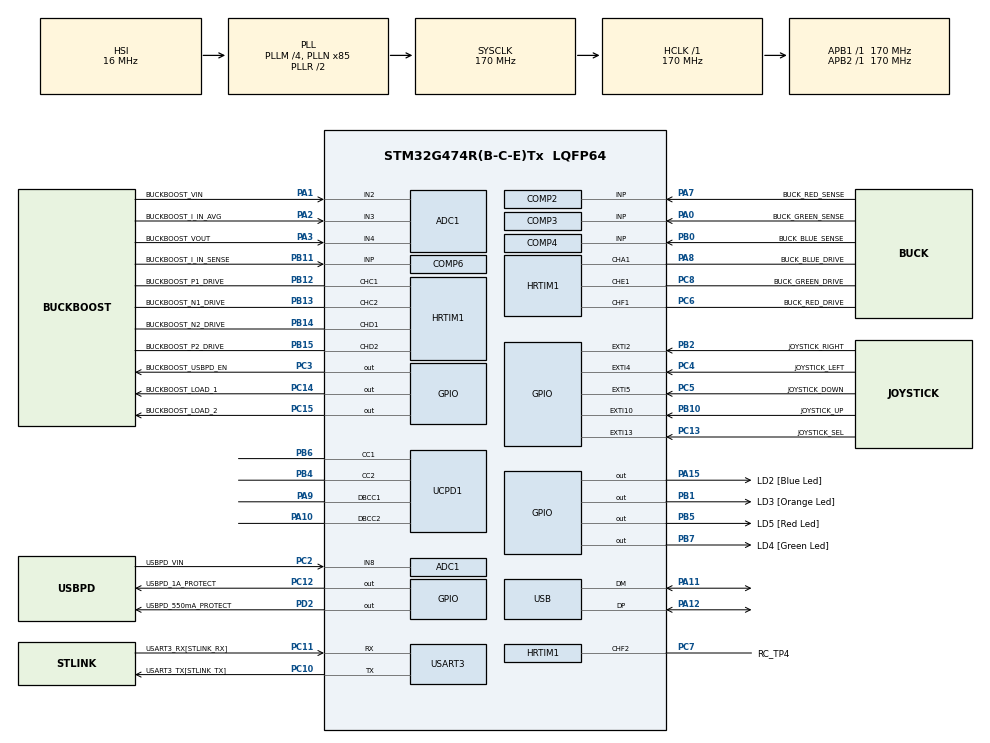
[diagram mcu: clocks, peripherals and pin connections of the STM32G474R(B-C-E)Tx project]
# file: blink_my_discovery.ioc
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ADC1.Channel-0\#ChannelRegularConversion=ADC_CHANNEL_8
ADC1.NbrOfConversionFlag=1
ADC1.OffsetNumber-0\#ChannelRegularConversion=ADC_OFFSET_NONE
ADC1.Rank-0\#ChannelRegularConversion=1
ADC1.SamplingTime-0\#ChannelRegularConversion=ADC_SAMPLETIME_2CYCLES_5
ADC1.master=1
DAC3.DAC_Channel-DAC_OUT2_Int=DAC_CHANNEL_2
Mcu.Family=STM32G4
Mcu.Name=STM32G474R(B-C-E)Tx
Mcu.Package=LQFP64
NVIC.ADC1_2_IRQn=true\:0\:0\:false\:false\:true\:true\:true
NVIC.EXTI15_10_IRQn=true\:0\:0\:false\:false\:true\:true\:true
NVIC.EXTI2_IRQn=true\:0\:0\:false\:false\:true\:true\:true
NVIC.EXTI4_IRQn=true\:0\:0\:false\:false\:true\:true\:true
NVIC.EXTI9_5_IRQn=true\:0\:0\:false\:false\:true\:true\:true
NVIC.HRTIM1_Master_IRQn=true\:0\:0\:false\:false\:true\:true\:true
NVIC.HRTIM1_TIMF_IRQn=true\:0\:0\:false\:false\:true\:true\:true
NVIC.PriorityGroup=NVIC_PRIORITYGROUP_4
NVIC.USART3_IRQn=true\:0\:0\:false\:false\:true\:true\:true
NVIC.USB_HP_IRQn=true\:0\:0\:false\:false\:true\:true\:true
PA0.GPIO_Label=BUCK_GREEN_SENSE
PA0.Mode=INP
PA0.Signal=COMP3_INP
PA1.GPIO_Label=BUCKBOOST_VIN
PA1.Mode=IN2-Single-Ended
PA1.Signal=ADC1_IN2
PA10.Mode=EnableDeadBattery
PA10.Signal=UCPD1_DBCC2
PA11.Mode=Device
PA11.Signal=USB_DM
PA12.Mode=Device
PA12.Signal=USB_DP
PA13.Mode=Serial_Wire
PA13.Signal=SYS_JTMS-SWDIO
PA14.Mode=Serial_Wire
PA14.Signal=SYS_JTCK-SWCLK
PA15.GPIO_Label=LD2 [Blue Led]
PA15.Signal=GPIO_Output
PA2.GPIO_Label=BUCKBOOST_I_IN_AVG
PA2.Mode=IN3-Single-Ended
PA2.Signal=ADC1_IN3
PA3.GPIO_Label=BUCKBOOST_VOUT
PA3.Mode=IN4-Single-Ended
PA3.Signal=ADC1_IN4
PA7.GPIO_Label=BUCK_RED_SENSE
PA7.Mode=INP
PA7.Signal=COMP2_INP
PA8.GPIO_Label=BUCK_BLUE_DRIVE
PA8.Mode=Output_TA1
PA8.Signal=HRTIM1_CHA1
PA9.Mode=EnableDeadBattery
PA9.Signal=UCPD1_DBCC1
PB0.GPIO_Label=BUCK_BLUE_SENSE
PB0.Mode=INP
PB0.Signal=COMP4_INP
PB1.GPIO_Label=LD3 [Orange Led]
PB1.Signal=GPIO_Output
PB10.GPIO_Label=JOYSTICK_UP
PB10.GPIO_PuPd=GPIO_PULLUP
PB10.Signal=GPXTI10
PB11.GPIO_Label=BUCKBOOST_I_IN_SENSE
PB11.Mode=INP
PB11.Signal=COMP6_INP
PB12.GPIO_Label=BUCKBOOST_P1_DRIVE
PB12.Mode=Output_TC1TC2
PB12.Signal=HRTIM1_CHC1
PB13.GPIO_Label=BUCKBOOST_N1_DRIVE
PB13.Mode=Output_TC1TC2
PB13.Signal=HRTIM1_CHC2
PB14.GPIO_Label=BUCKBOOST_N2_DRIVE
PB14.Mode=Output_TD1TD2
PB14.Signal=HRTIM1_CHD1
PB15.GPIO_Label=BUCKBOOST_P2_DRIVE
PB15.Mode=Output_TD1TD2
PB15.Signal=HRTIM1_CHD2
PB2.GPIO_Label=JOYSTICK_RIGHT
PB2.GPIO_PuPd=GPIO_PULLUP
PB2.Signal=GPXTI2
PB3.Signal=SYS_JTDO-SWO
PB4.Mode=Sink_AllSignals
PB4.Signal=UCPD1_CC2
PB5.GPIO_Label=LD5 [Red Led]
PB5.Signal=GPIO_Output
PB6.Mode=Sink_AllSignals
PB6.Signal=UCPD1_CC1
PB7.GPIO_Label=LD4 [Green Led]
PB7.Signal=GPIO_Output
PC10.GPIO_Label=USART3_TX[STLINK_TX]
PC10.GPIO_Speed=GPIO_SPEED_FREQ_MEDIUM
PC10.Mode=Asynchronous
PC10.Signal=USART3_TX
PC11.GPIO_Label=USART3_RX[STLINK_RX]
PC11.GPIO_Speed=GPIO_SPEED_FREQ_MEDIUM
PC11.Mode=Asynchronous
PC11.Signal=USART3_RX
PC12.GPIO_Label=USBPD_1A_PROTECT
PC12.Signal=GPIO_Output
PC13.GPIO_Label=JOYSTICK_SEL
PC13.GPIO_PuPd=GPIO_PULLUP
PC13.Signal=GPXTI13
PC14-OSC32_IN.GPIO_Label=BUCKBOOST_LOAD_1
PC14-OSC32_IN.Signal=GPIO_Output
PC15-OSC32_OUT.GPIO_Label=BUCKBOOST_LOAD_2
PC15-OSC32_OUT.Signal=GPIO_Output
PC2.GPIO_Label=USBPD_VIN
PC2.Mode=IN8-Single-Ended
PC2.Signal=ADC1_IN8
PC3.GPIO_Label=BUCKBOOST_USBPD_EN
PC3.Signal=GPIO_Output
PC4.GPIO_Label=JOYSTICK_LEFT
PC4.GPIO_PuPd=GPIO_PULLUP
PC4.Signal=GPXTI4
PC5.GPIO_Label=JOYSTICK_DOWN
PC5.GPIO_PuPd=GPIO_PULLUP
PC5.Signal=GPXTI5
PC6.GPIO_Label=BUCK_RED_DRIVE
PC6.Mode=Output_TF1TF2
PC6.Signal=HRTIM1_CHF1
PC7.GPIO_Label=RC_TP4
PC7.Mode=Output_TF1TF2
PC7.Signal=HRTIM1_CHF2
PC8.GPIO_Label=BUCK_GREEN_DRIVE
PC8.Mode=Output_TE1
PC8.Signal=HRTIM1_CHE1
PD2.GPIO_Label=USBPD_550mA_PROTECT
PD2.Signal=GPIO_Output
ProjectManager.HeapSize=0x200
ProjectManager.StackSize=0x400
ProjectManager.TargetToolchain=STM32CubeIDE
RCC.ADC12Freq_Value=170000000
RCC.ADC345Freq_Value=170000000
RCC.AHBFreq_Value=170000000
RCC.APB1Freq_Value=170000000
RCC.APB1TimFreq_Value=170000000
RCC.APB2Freq_Value=170000000
RCC.APB2TimFreq_Value=170000000
RCC.CK48CLockSelection=RCC_USBCLKSOURCE_HSI48
RCC.CortexFreq_Value=170000000
RCC.EXTERNAL_CLOCK_VALUE=12288000
RCC.HCLKFreq_Value=170000000
RCC.HSE_VALUE=8000000
RCC.HSI48_VALUE=48000000
RCC.HSI_VALUE=16000000
RCC.LSE_VALUE=32768
RCC.PLLM=RCC_PLLM_DIV4
RCC.PLLN=85
RCC.PLLP=RCC_PLLP_DIV8
RCC.PLLQ=RCC_PLLQ_DIV8
RCC.SYSCLKFreq_VALUE=170000000
RCC.SYSCLKSource=RCC_SYSCLKSOURCE_PLLCLK
RCC.USBFreq_Value=48000000
RCC.VCOOutputFreq_Value=340000000
USART3.ClockPrescaler=PRESCALER_DIV4
USART3.VirtualMode-Asynchronous=VM_ASYNC
USART3.WordLength=WORDLENGTH_8B
VP_COMP2_VS_DAC3OUT2.Mode=INM_DAC3OUT2
VP_COMP3_VS_DAC3OUT1.Mode=INM_DAC3OUT1
VP_COMP4_VS_DAC1OUT1.Mode=INM_DAC1OUT1
VP_COMP6_VS_DAC2OUT1.Mode=INM_DAC2OUT1
VP_DAC1_VS_DACI1.Mode=DAC_OUT1_Int
VP_DAC2_VS_DACI1.Mode=DAC_OUT1_Int
VP_DAC3_VS_DACI1.Mode=DAC_OUT1_Int
VP_DAC3_VS_DACI2.Mode=DAC_OUT2_Int
VP_SYS_VS_DBSignals.Mode=DisableDeadBatterySignals
board=B-G474E-DPOW1

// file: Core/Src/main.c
/* USER CODE BEGIN Header */
/**
 ******************************************************************************
 * @file           : main.c
 * @brief          : Main program body
 ******************************************************************************
 * @attention
 *
 * <h2><center>&copy; Copyright (c) 2020 STMicroelectronics.
 * All rights reserved.</center></h2>
 *
 * This software component is licensed by ST under BSD 3-Clause license,
 * the "License"; You may not use this file except in compliance with the
 * License. You may obtain a copy of the License at:
 *                        opensource.org/licenses/BSD-3-Clause
 *
 ******************************************************************************
 */
/* USER CODE END Header */

#include "main.h"

ADC_HandleTypeDef hadc1;

COMP_HandleTypeDef hcomp2;
COMP_HandleTypeDef hcomp3;
COMP_HandleTypeDef hcomp4;
COMP_HandleTypeDef hcomp6;

DAC_HandleTypeDef hdac1;
DAC_HandleTypeDef hdac2;
DAC_HandleTypeDef hdac3;

HRTIM_HandleTypeDef hhrtim1;

UART_HandleTypeDef huart3;

PCD_HandleTypeDef hpcd_USB_FS;

void SystemClock_Config(void);
static void MX_GPIO_Init(void);
static void MX_ADC1_Init(void);
static void MX_COMP2_Init(void);
static void MX_COMP3_Init(void);
static void MX_COMP4_Init(void);
static void MX_COMP6_Init(void);
static void MX_DAC1_Init(void);
static void MX_DAC2_Init(void);
static void MX_DAC3_Init(void);
static void MX_HRTIM1_Init(void);
static void MX_UCPD1_Init(void);
static void MX_USART3_UART_Init(void);
static void MX_USB_PCD_Init(void);

int main(void) {

	/* MCU Configuration--------------------------------------------------------*/

	/* Reset of all peripherals, Initializes the Flash interface and the Systick. */
	HAL_Init();

	/* Configure the system clock */
	SystemClock_Config();

	/* Initialize all configured peripherals */
	MX_GPIO_Init();
	MX_ADC1_Init();
	MX_COMP2_Init();
	MX_COMP3_Init();
	MX_COMP4_Init();
	MX_COMP6_Init();
	MX_DAC1_Init();
	MX_DAC2_Init();
	MX_DAC3_Init();
	MX_HRTIM1_Init();
	MX_UCPD1_Init();
	MX_USART3_UART_Init();
	MX_USB_PCD_Init();
	uint32_t t;
	uint8_t i = 4; // begin

	/* Infinite loop */
	while (1) {

		// LD2 - Blue - PA15
		// LD3 - Orange - PB1
		// LD4 - Green - PB7
		// LD5 - Red - PB5
		/* USER CODE BEGIN 3 */
		if (HAL_GetTick() - t >= 1000) {
			t = HAL_GetTick();
			switch (i) {
			case 0:
				HAL_GPIO_TogglePin(GPIOA, GPIO_PIN_15);
				HAL_GPIO_TogglePin(GPIOB, GPIO_PIN_1);
				break;
			case 1:
				HAL_GPIO_TogglePin(GPIOB, GPIO_PIN_1);
				HAL_GPIO_TogglePin(GPIOB, GPIO_PIN_7);
				break;
			case 2:
				HAL_GPIO_TogglePin(GPIOB, GPIO_PIN_7);
				HAL_GPIO_TogglePin(GPIOB, GPIO_PIN_5);
				break;
			case 3:
				HAL_GPIO_TogglePin(GPIOB, GPIO_PIN_5);
				HAL_GPIO_TogglePin(GPIOA, GPIO_PIN_15);
				break;
			default:
				HAL_GPIO_TogglePin(GPIOA, GPIO_PIN_15);
				break;
			}
			i++;
			if (i>3) i = 0;
		}

	}
	/* USER CODE END 3 */
}

void SystemClock_Config(void) {
	RCC_OscInitTypeDef RCC_OscInitStruct = { 0 };
	RCC_ClkInitTypeDef RCC_ClkInitStruct = { 0 };
	RCC_PeriphCLKInitTypeDef PeriphClkInit = { 0 };

	/** Configure the main internal regulator output voltage
	 */
	HAL_PWREx_ControlVoltageScaling(PWR_REGULATOR_VOLTAGE_SCALE1_BOOST);
	/** Initializes the CPU, AHB and APB busses clocks
	 */
	RCC_OscInitStruct.OscillatorType = RCC_OSCILLATORTYPE_HSI
			| RCC_OSCILLATORTYPE_HSI48;
	RCC_OscInitStruct.HSIState = RCC_HSI_ON;
	RCC_OscInitStruct.HSICalibrationValue = RCC_HSICALIBRATION_DEFAULT;
	RCC_OscInitStruct.HSI48State = RCC_HSI48_ON;
	RCC_OscInitStruct.PLL.PLLState = RCC_PLL_ON;
	RCC_OscInitStruct.PLL.PLLSource = RCC_PLLSOURCE_HSI;
	RCC_OscInitStruct.PLL.PLLM = RCC_PLLM_DIV4;
	RCC_OscInitStruct.PLL.PLLN = 85;
	RCC_OscInitStruct.PLL.PLLP = RCC_PLLP_DIV8;
	RCC_OscInitStruct.PLL.PLLQ = RCC_PLLQ_DIV8;
	RCC_OscInitStruct.PLL.PLLR = RCC_PLLR_DIV2;
	if (HAL_RCC_OscConfig(&RCC_OscInitStruct) != HAL_OK) {
		Error_Handler();
	}
	/** Initializes the CPU, AHB and APB busses clocks
	 */
	RCC_ClkInitStruct.ClockType = RCC_CLOCKTYPE_HCLK | RCC_CLOCKTYPE_SYSCLK
			| RCC_CLOCKTYPE_PCLK1 | RCC_CLOCKTYPE_PCLK2;
	RCC_ClkInitStruct.SYSCLKSource = RCC_SYSCLKSOURCE_PLLCLK;
	RCC_ClkInitStruct.AHBCLKDivider = RCC_SYSCLK_DIV1;
	RCC_ClkInitStruct.APB1CLKDivider = RCC_HCLK_DIV1;
	RCC_ClkInitStruct.APB2CLKDivider = RCC_HCLK_DIV1;

	if (HAL_RCC_ClockConfig(&RCC_ClkInitStruct, FLASH_LATENCY_8) != HAL_OK) {
		Error_Handler();
	}
	/** Initializes the peripherals clocks
	 */
	PeriphClkInit.PeriphClockSelection = RCC_PERIPHCLK_USART3
			| RCC_PERIPHCLK_USB | RCC_PERIPHCLK_ADC12;
	PeriphClkInit.Usart3ClockSelection = RCC_USART3CLKSOURCE_PCLK1;
	PeriphClkInit.UsbClockSelection = RCC_USBCLKSOURCE_HSI48;
	PeriphClkInit.Adc12ClockSelection = RCC_ADC12CLKSOURCE_SYSCLK;
	if (HAL_RCCEx_PeriphCLKConfig(&PeriphClkInit) != HAL_OK) {
		Error_Handler();
	}
}

static void MX_ADC1_Init(void) {

	ADC_MultiModeTypeDef multimode = { 0 };
	ADC_ChannelConfTypeDef sConfig = { 0 };

	/** Common config
	 */
	hadc1.Instance = ADC1;
	hadc1.Init.ClockPrescaler = ADC_CLOCK_ASYNC_DIV1;
	hadc1.Init.Resolution = ADC_RESOLUTION_12B;
	hadc1.Init.DataAlign = ADC_DATAALIGN_RIGHT;
	hadc1.Init.GainCompensation = 0;
	hadc1.Init.ScanConvMode = ADC_SCAN_DISABLE;
	hadc1.Init.EOCSelection = ADC_EOC_SINGLE_CONV;
	hadc1.Init.LowPowerAutoWait = DISABLE;
	hadc1.Init.ContinuousConvMode = DISABLE;
	hadc1.Init.NbrOfConversion = 1;
	hadc1.Init.DiscontinuousConvMode = DISABLE;
	hadc1.Init.ExternalTrigConv = ADC_SOFTWARE_START;
	hadc1.Init.ExternalTrigConvEdge = ADC_EXTERNALTRIGCONVEDGE_NONE;
	hadc1.Init.DMAContinuousRequests = DISABLE;
	hadc1.Init.Overrun = ADC_OVR_DATA_PRESERVED;
	hadc1.Init.OversamplingMode = DISABLE;
	if (HAL_ADC_Init(&hadc1) != HAL_OK) {
		Error_Handler();
	}
	/** Configure the ADC multi-mode
	 */
	multimode.Mode = ADC_MODE_INDEPENDENT;
	if (HAL_ADCEx_MultiModeConfigChannel(&hadc1, &multimode) != HAL_OK) {
		Error_Handler();
	}
	/** Configure Regular Channel
	 */
	sConfig.Channel = ADC_CHANNEL_8;
	sConfig.Rank = ADC_REGULAR_RANK_1;
	sConfig.SamplingTime = ADC_SAMPLETIME_2CYCLES_5;
	sConfig.SingleDiff = ADC_SINGLE_ENDED;
	sConfig.OffsetNumber = ADC_OFFSET_NONE;
	sConfig.Offset = 0;
	if (HAL_ADC_ConfigChannel(&hadc1, &sConfig) != HAL_OK) {
		Error_Handler();
	}

}

static void MX_COMP2_Init(void) {

	hcomp2.Instance = COMP2;
	hcomp2.Init.InputPlus = COMP_INPUT_PLUS_IO1;
	hcomp2.Init.InputMinus = COMP_INPUT_MINUS_DAC3_CH2;
	hcomp2.Init.OutputPol = COMP_OUTPUTPOL_NONINVERTED;
	hcomp2.Init.Hysteresis = COMP_HYSTERESIS_NONE;
	hcomp2.Init.BlankingSrce = COMP_BLANKINGSRC_NONE;
	hcomp2.Init.TriggerMode = COMP_TRIGGERMODE_NONE;
	if (HAL_COMP_Init(&hcomp2) != HAL_OK) {
		Error_Handler();
	}

}

static void MX_COMP3_Init(void) {

	hcomp3.Instance = COMP3;
	hcomp3.Init.InputPlus = COMP_INPUT_PLUS_IO1;
	hcomp3.Init.InputMinus = COMP_INPUT_MINUS_DAC3_CH1;
	hcomp3.Init.OutputPol = COMP_OUTPUTPOL_NONINVERTED;
	hcomp3.Init.Hysteresis = COMP_HYSTERESIS_NONE;
	hcomp3.Init.BlankingSrce = COMP_BLANKINGSRC_NONE;
	hcomp3.Init.TriggerMode = COMP_TRIGGERMODE_NONE;
	if (HAL_COMP_Init(&hcomp3) != HAL_OK) {
		Error_Handler();
	}

}

static void MX_COMP4_Init(void) {

	hcomp4.Instance = COMP4;
	hcomp4.Init.InputPlus = COMP_INPUT_PLUS_IO1;
	hcomp4.Init.InputMinus = COMP_INPUT_MINUS_DAC1_CH1;
	hcomp4.Init.OutputPol = COMP_OUTPUTPOL_NONINVERTED;
	hcomp4.Init.Hysteresis = COMP_HYSTERESIS_NONE;
	hcomp4.Init.BlankingSrce = COMP_BLANKINGSRC_NONE;
	hcomp4.Init.TriggerMode = COMP_TRIGGERMODE_NONE;
	if (HAL_COMP_Init(&hcomp4) != HAL_OK) {
		Error_Handler();
	}

}

static void MX_COMP6_Init(void) {

	hcomp6.Instance = COMP6;
	hcomp6.Init.InputPlus = COMP_INPUT_PLUS_IO1;
	hcomp6.Init.InputMinus = COMP_INPUT_MINUS_DAC2_CH1;
	hcomp6.Init.OutputPol = COMP_OUTPUTPOL_NONINVERTED;
	hcomp6.Init.Hysteresis = COMP_HYSTERESIS_NONE;
	hcomp6.Init.BlankingSrce = COMP_BLANKINGSRC_NONE;
	hcomp6.Init.TriggerMode = COMP_TRIGGERMODE_NONE;
	if (HAL_COMP_Init(&hcomp6) != HAL_OK) {
		Error_Handler();
	}

}

static void MX_DAC1_Init(void) {

	DAC_ChannelConfTypeDef sConfig = { 0 };

	/** DAC Initialization
	 */
	hdac1.Instance = DAC1;
	if (HAL_DAC_Init(&hdac1) != HAL_OK) {
		Error_Handler();
	}
	/** DAC channel OUT1 config
	 */
	sConfig.DAC_HighFrequency = DAC_HIGH_FREQUENCY_INTERFACE_MODE_AUTOMATIC;
	sConfig.DAC_DMADoubleDataMode = DISABLE;
	sConfig.DAC_SignedFormat = DISABLE;
	sConfig.DAC_SampleAndHold = DAC_SAMPLEANDHOLD_DISABLE;
	sConfig.DAC_Trigger = DAC_TRIGGER_NONE;
	sConfig.DAC_Trigger2 = DAC_TRIGGER_NONE;
	sConfig.DAC_OutputBuffer = DAC_OUTPUTBUFFER_DISABLE;
	sConfig.DAC_ConnectOnChipPeripheral = DAC_CHIPCONNECT_ENABLE;
	sConfig.DAC_UserTrimming = DAC_TRIMMING_FACTORY;
	if (HAL_DAC_ConfigChannel(&hdac1, &sConfig, DAC_CHANNEL_1) != HAL_OK) {
		Error_Handler();
	}

}

static void MX_DAC2_Init(void) {

	DAC_ChannelConfTypeDef sConfig = { 0 };

	/** DAC Initialization
	 */
	hdac2.Instance = DAC2;
	if (HAL_DAC_Init(&hdac2) != HAL_OK) {
		Error_Handler();
	}
	/** DAC channel OUT1 config
	 */
	sConfig.DAC_HighFrequency = DAC_HIGH_FREQUENCY_INTERFACE_MODE_AUTOMATIC;
	sConfig.DAC_DMADoubleDataMode = DISABLE;
	sConfig.DAC_SignedFormat = DISABLE;
	sConfig.DAC_SampleAndHold = DAC_SAMPLEANDHOLD_DISABLE;
	sConfig.DAC_Trigger = DAC_TRIGGER_NONE;
	sConfig.DAC_Trigger2 = DAC_TRIGGER_NONE;
	sConfig.DAC_OutputBuffer = DAC_OUTPUTBUFFER_DISABLE;
	sConfig.DAC_ConnectOnChipPeripheral = DAC_CHIPCONNECT_ENABLE;
	sConfig.DAC_UserTrimming = DAC_TRIMMING_FACTORY;
	if (HAL_DAC_ConfigChannel(&hdac2, &sConfig, DAC_CHANNEL_1) != HAL_OK) {
		Error_Handler();
	}

}

static void MX_DAC3_Init(void) {

	DAC_ChannelConfTypeDef sConfig = { 0 };

	/** DAC Initialization
	 */
	hdac3.Instance = DAC3;
	if (HAL_DAC_Init(&hdac3) != HAL_OK) {
		Error_Handler();
	}
	/** DAC channel OUT1 config
	 */
	sConfig.DAC_HighFrequency = DAC_HIGH_FREQUENCY_INTERFACE_MODE_AUTOMATIC;
	sConfig.DAC_DMADoubleDataMode = DISABLE;
	sConfig.DAC_SignedFormat = DISABLE;
	sConfig.DAC_SampleAndHold = DAC_SAMPLEANDHOLD_DISABLE;
	sConfig.DAC_Trigger = DAC_TRIGGER_NONE;
	sConfig.DAC_Trigger2 = DAC_TRIGGER_NONE;
	sConfig.DAC_OutputBuffer = DAC_OUTPUTBUFFER_DISABLE;
	sConfig.DAC_ConnectOnChipPeripheral = DAC_CHIPCONNECT_ENABLE;
	sConfig.DAC_UserTrimming = DAC_TRIMMING_FACTORY;
	if (HAL_DAC_ConfigChannel(&hdac3, &sConfig, DAC_CHANNEL_1) != HAL_OK) {
		Error_Handler();
	}
	/** DAC channel OUT2 config
	 */
	sConfig.DAC_ConnectOnChipPeripheral = DAC_CHIPCONNECT_ENABLE;
	if (HAL_DAC_ConfigChannel(&hdac3, &sConfig, DAC_CHANNEL_2) != HAL_OK) {
		Error_Handler();
	}

}

static void MX_HRTIM1_Init(void) {

	HRTIM_TimeBaseCfgTypeDef pTimeBaseCfg = { 0 };
	HRTIM_TimerCtlTypeDef pTimerCtl = { 0 };
	HRTIM_TimerCfgTypeDef pTimerCfg = { 0 };
	HRTIM_OutputCfgTypeDef pOutputCfg = { 0 };

	hhrtim1.Instance = HRTIM1;
	hhrtim1.Init.HRTIMInterruptResquests = HRTIM_IT_NONE;
	hhrtim1.Init.SyncOptions = HRTIM_SYNCOPTION_NONE;
	if (HAL_HRTIM_Init(&hhrtim1) != HAL_OK) {
		Error_Handler();
	}
	if (HAL_HRTIM_DLLCalibrationStart(&hhrtim1, HRTIM_CALIBRATIONRATE_3)
			!= HAL_OK) {
		Error_Handler();
	}
	if (HAL_HRTIM_PollForDLLCalibration(&hhrtim1, 10) != HAL_OK) {
		Error_Handler();
	}
	pTimeBaseCfg.Period = 0xFFDF;
	pTimeBaseCfg.RepetitionCounter = 0x00;
	pTimeBaseCfg.PrescalerRatio = HRTIM_PRESCALERRATIO_MUL32;
	pTimeBaseCfg.Mode = HRTIM_MODE_CONTINUOUS;
	if (HAL_HRTIM_TimeBaseConfig(&hhrtim1, HRTIM_TIMERINDEX_TIMER_A,
			&pTimeBaseCfg) != HAL_OK) {
		Error_Handler();
	}
	pTimerCtl.UpDownMode = HRTIM_TIMERUPDOWNMODE_UP;
	pTimerCtl.DualChannelDacEnable = HRTIM_TIMER_DCDE_DISABLED;
	if (HAL_HRTIM_WaveformTimerControl(&hhrtim1, HRTIM_TIMERINDEX_TIMER_A,
			&pTimerCtl) != HAL_OK) {
		Error_Handler();
	}
	pTimerCfg.InterruptRequests = HRTIM_TIM_IT_NONE;
	pTimerCfg.DMARequests = HRTIM_TIM_DMA_NONE;
	pTimerCfg.DMASrcAddress = 0x0000;
	pTimerCfg.DMADstAddress = 0x0000;
	pTimerCfg.DMASize = 0x1;
	pTimerCfg.HalfModeEnable = HRTIM_HALFMODE_DISABLED;
	pTimerCfg.InterleavedMode = HRTIM_INTERLEAVED_MODE_DISABLED;
	pTimerCfg.StartOnSync = HRTIM_SYNCSTART_DISABLED;
	pTimerCfg.ResetOnSync = HRTIM_SYNCRESET_DISABLED;
	pTimerCfg.DACSynchro = HRTIM_DACSYNC_NONE;
	pTimerCfg.PreloadEnable = HRTIM_PRELOAD_DISABLED;
	pTimerCfg.UpdateGating = HRTIM_UPDATEGATING_INDEPENDENT;
	pTimerCfg.BurstMode = HRTIM_TIMERBURSTMODE_MAINTAINCLOCK;
	pTimerCfg.RepetitionUpdate = HRTIM_UPDATEONREPETITION_DISABLED;
	pTimerCfg.PushPull = HRTIM_TIMPUSHPULLMODE_DISABLED;
	pTimerCfg.FaultEnable = HRTIM_TIMFAULTENABLE_NONE;
	pTimerCfg.FaultLock = HRTIM_TIMFAULTLOCK_READWRITE;
	pTimerCfg.DeadTimeInsertion = HRTIM_TIMDEADTIMEINSERTION_DISABLED;
	pTimerCfg.DelayedProtectionMode =
			HRTIM_TIMER_A_B_C_DELAYEDPROTECTION_DISABLED;
	pTimerCfg.UpdateTrigger = HRTIM_TIMUPDATETRIGGER_NONE;
	pTimerCfg.ResetTrigger = HRTIM_TIMRESETTRIGGER_NONE;
	pTimerCfg.ResetUpdate = HRTIM_TIMUPDATEONRESET_DISABLED;
	pTimerCfg.ReSyncUpdate = HRTIM_TIMERESYNC_UPDATE_UNCONDITIONAL;
	if (HAL_HRTIM_WaveformTimerConfig(&hhrtim1, HRTIM_TIMERINDEX_TIMER_A,
			&pTimerCfg) != HAL_OK) {
		Error_Handler();
	}
	pTimerCfg.DMASrcAddress = 0x0000;
	pTimerCfg.DMADstAddress = 0x0000;
	pTimerCfg.DMASize = 0x1;
	if (HAL_HRTIM_WaveformTimerConfig(&hhrtim1, HRTIM_TIMERINDEX_TIMER_C,
			&pTimerCfg) != HAL_OK) {
		Error_Handler();
	}
	pTimerCfg.DMASrcAddress = 0x0000;
	pTimerCfg.DMADstAddress = 0x0000;
	pTimerCfg.DMASize = 0x1;
	pTimerCfg.DelayedProtectionMode =
			HRTIM_TIMER_D_E_DELAYEDPROTECTION_DISABLED;
	if (HAL_HRTIM_WaveformTimerConfig(&hhrtim1, HRTIM_TIMERINDEX_TIMER_D,
			&pTimerCfg) != HAL_OK) {
		Error_Handler();
	}
	pTimerCfg.InterruptRequests = HRTIM_MASTER_IT_NONE;
	pTimerCfg.DMASrcAddress = 0x0000;
	pTimerCfg.DMADstAddress = 0x0000;
	pTimerCfg.DMASize = 0x1;
	if (HAL_HRTIM_WaveformTimerConfig(&hhrtim1, HRTIM_TIMERINDEX_TIMER_E,
			&pTimerCfg) != HAL_OK) {
		Error_Handler();
	}
	pTimerCfg.InterruptRequests = HRTIM_TIM_IT_NONE;
	pTimerCfg.DMASrcAddress = 0x0000;
	pTimerCfg.DMADstAddress = 0x0000;
	pTimerCfg.DMASize = 0x1;
	pTimerCfg.DelayedProtectionMode = HRTIM_TIMER_F_DELAYEDPROTECTION_DISABLED;
	if (HAL_HRTIM_WaveformTimerConfig(&hhrtim1, HRTIM_TIMERINDEX_TIMER_F,
			&pTimerCfg) != HAL_OK) {
		Error_Handler();
	}
	pOutputCfg.Polarity = HRTIM_OUTPUTPOLARITY_HIGH;
	pOutputCfg.SetSource = HRTIM_OUTPUTSET_NONE;
	pOutputCfg.ResetSource = HRTIM_OUTPUTRESET_NONE;
	pOutputCfg.IdleMode = HRTIM_OUTPUTIDLEMODE_NONE;
	pOutputCfg.IdleLevel = HRTIM_OUTPUTIDLELEVEL_INACTIVE;
	pOutputCfg.FaultLevel = HRTIM_OUTPUTFAULTLEVEL_NONE;
	pOutputCfg.ChopperModeEnable = HRTIM_OUTPUTCHOPPERMODE_DISABLED;
	pOutputCfg.BurstModeEntryDelayed = HRTIM_OUTPUTBURSTMODEENTRY_REGULAR;
	if (HAL_HRTIM_WaveformOutputConfig(&hhrtim1, HRTIM_TIMERINDEX_TIMER_A,
	HRTIM_OUTPUT_TA1, &pOutputCfg) != HAL_OK) {
		Error_Handler();
	}
	if (HAL_HRTIM_WaveformOutputConfig(&hhrtim1, HRTIM_TIMERINDEX_TIMER_C,
	HRTIM_OUTPUT_TC1, &pOutputCfg) != HAL_OK) {
		Error_Handler();
	}
	if (HAL_HRTIM_WaveformOutputConfig(&hhrtim1, HRTIM_TIMERINDEX_TIMER_D,
	HRTIM_OUTPUT_TD1, &pOutputCfg) != HAL_OK) {
		Error_Handler();
	}
	if (HAL_HRTIM_WaveformOutputConfig(&hhrtim1, HRTIM_TIMERINDEX_TIMER_E,
	HRTIM_OUTPUT_TE1, &pOutputCfg) != HAL_OK) {
		Error_Handler();
	}
	if (HAL_HRTIM_WaveformOutputConfig(&hhrtim1, HRTIM_TIMERINDEX_TIMER_F,
	HRTIM_OUTPUT_TF1, &pOutputCfg) != HAL_OK) {
		Error_Handler();
	}
	if (HAL_HRTIM_TimeBaseConfig(&hhrtim1, HRTIM_TIMERINDEX_TIMER_C,
			&pTimeBaseCfg) != HAL_OK) {
		Error_Handler();
	}
	if (HAL_HRTIM_WaveformTimerControl(&hhrtim1, HRTIM_TIMERINDEX_TIMER_C,
			&pTimerCtl) != HAL_OK) {
		Error_Handler();
	}
	if (HAL_HRTIM_WaveformOutputConfig(&hhrtim1, HRTIM_TIMERINDEX_TIMER_C,
	HRTIM_OUTPUT_TC2, &pOutputCfg) != HAL_OK) {
		Error_Handler();
	}
	if (HAL_HRTIM_WaveformOutputConfig(&hhrtim1, HRTIM_TIMERINDEX_TIMER_D,
	HRTIM_OUTPUT_TD2, &pOutputCfg) != HAL_OK) {
		Error_Handler();
	}
	if (HAL_HRTIM_WaveformOutputConfig(&hhrtim1, HRTIM_TIMERINDEX_TIMER_F,
	HRTIM_OUTPUT_TF2, &pOutputCfg) != HAL_OK) {
		Error_Handler();
	}
	if (HAL_HRTIM_TimeBaseConfig(&hhrtim1, HRTIM_TIMERINDEX_TIMER_D,
			&pTimeBaseCfg) != HAL_OK) {
		Error_Handler();
	}
	if (HAL_HRTIM_WaveformTimerControl(&hhrtim1, HRTIM_TIMERINDEX_TIMER_D,
			&pTimerCtl) != HAL_OK) {
		Error_Handler();
	}
	if (HAL_HRTIM_TimeBaseConfig(&hhrtim1, HRTIM_TIMERINDEX_TIMER_E,
			&pTimeBaseCfg) != HAL_OK) {
		Error_Handler();
	}
	if (HAL_HRTIM_WaveformTimerControl(&hhrtim1, HRTIM_TIMERINDEX_TIMER_E,
			&pTimerCtl) != HAL_OK) {
		Error_Handler();
	}
	if (HAL_HRTIM_TimeBaseConfig(&hhrtim1, HRTIM_TIMERINDEX_TIMER_F,
			&pTimeBaseCfg) != HAL_OK) {
		Error_Handler();
	}
	if (HAL_HRTIM_WaveformTimerControl(&hhrtim1, HRTIM_TIMERINDEX_TIMER_F,
			&pTimerCtl) != HAL_OK) {
		Error_Handler();
	}
	HAL_HRTIM_MspPostInit(&hhrtim1);

}

static void MX_UCPD1_Init(void) {

}

static void MX_USART3_UART_Init(void) {

	huart3.Instance = USART3;
	huart3.Init.BaudRate = 115200;
	huart3.Init.WordLength = UART_WORDLENGTH_8B;
	huart3.Init.StopBits = UART_STOPBITS_1;
	huart3.Init.Parity = UART_PARITY_NONE;
	huart3.Init.Mode = UART_MODE_TX_RX;
	huart3.Init.HwFlowCtl = UART_HWCONTROL_NONE;
	huart3.Init.OverSampling = UART_OVERSAMPLING_16;
	huart3.Init.OneBitSampling = UART_ONE_BIT_SAMPLE_DISABLE;
	huart3.Init.ClockPrescaler = UART_PRESCALER_DIV4;
	huart3.AdvancedInit.AdvFeatureInit = UART_ADVFEATURE_NO_INIT;
	if (HAL_UART_Init(&huart3) != HAL_OK) {
		Error_Handler();
	}
	if (HAL_UARTEx_SetTxFifoThreshold(&huart3, UART_TXFIFO_THRESHOLD_1_8)
			!= HAL_OK) {
		Error_Handler();
	}
	if (HAL_UARTEx_SetRxFifoThreshold(&huart3, UART_RXFIFO_THRESHOLD_1_8)
			!= HAL_OK) {
		Error_Handler();
	}
	if (HAL_UARTEx_DisableFifoMode(&huart3) != HAL_OK) {
		Error_Handler();
	}

}

static void MX_USB_PCD_Init(void) {

	hpcd_USB_FS.Instance = USB;
	hpcd_USB_FS.Init.dev_endpoints = 8;
	hpcd_USB_FS.Init.speed = PCD_SPEED_FULL;
	hpcd_USB_FS.Init.phy_itface = PCD_PHY_EMBEDDED;
	hpcd_USB_FS.Init.Sof_enable = DISABLE;
	hpcd_USB_FS.Init.low_power_enable = DISABLE;
	hpcd_USB_FS.Init.lpm_enable = DISABLE;
	hpcd_USB_FS.Init.battery_charging_enable = DISABLE;
	if (HAL_PCD_Init(&hpcd_USB_FS) != HAL_OK) {
		Error_Handler();
	}

}

static void MX_GPIO_Init(void) {
	GPIO_InitTypeDef GPIO_InitStruct = { 0 };

	/* GPIO Ports Clock Enable */
	__HAL_RCC_GPIOC_CLK_ENABLE();
	__HAL_RCC_GPIOA_CLK_ENABLE();
	__HAL_RCC_GPIOB_CLK_ENABLE();
	__HAL_RCC_GPIOD_CLK_ENABLE();

	/*Configure GPIO pin Output Level */
	HAL_GPIO_WritePin(GPIOC,
			BUCKBOOST_LOAD_1_Pin | BUCKBOOST_LOAD_2_Pin | BUCKBOOST_USBPD_EN_Pin
					| USBPD_1A_PROTECT_Pin, GPIO_PIN_RESET);

	/*Configure GPIO pin Output Level */
	HAL_GPIO_WritePin(GPIOB, LD3_Pin | LD5_Pin | LD4_Pin, GPIO_PIN_RESET);

	/*Configure GPIO pin Output Level */
	HAL_GPIO_WritePin(LD2_GPIO_Port, LD2_Pin, GPIO_PIN_RESET);

	/*Configure GPIO pin Output Level */
	HAL_GPIO_WritePin(USBPD_550mA_PROTECT_GPIO_Port, USBPD_550mA_PROTECT_Pin,
			GPIO_PIN_RESET);

	/*Configure GPIO pins : JOYSTICK_SEL_Pin JOYSTICK_LEFT_Pin JOYSTICK_DOWN_Pin */
	GPIO_InitStruct.Pin = JOYSTICK_SEL_Pin | JOYSTICK_LEFT_Pin
			| JOYSTICK_DOWN_Pin;
	GPIO_InitStruct.Mode = GPIO_MODE_IT_RISING;
	GPIO_InitStruct.Pull = GPIO_PULLUP;
	HAL_GPIO_Init(GPIOC, &GPIO_InitStruct);

	/*Configure GPIO pins : BUCKBOOST_LOAD_1_Pin BUCKBOOST_LOAD_2_Pin BUCKBOOST_USBPD_EN_Pin USBPD_1A_PROTECT_Pin */
	GPIO_InitStruct.Pin = BUCKBOOST_LOAD_1_Pin | BUCKBOOST_LOAD_2_Pin
			| BUCKBOOST_USBPD_EN_Pin | USBPD_1A_PROTECT_Pin;
	GPIO_InitStruct.Mode = GPIO_MODE_OUTPUT_PP;
	GPIO_InitStruct.Pull = GPIO_NOPULL;
	GPIO_InitStruct.Speed = GPIO_SPEED_FREQ_LOW;
	HAL_GPIO_Init(GPIOC, &GPIO_InitStruct);

	/*Configure GPIO pins : LD3_Pin LD5_Pin LD4_Pin */
	GPIO_InitStruct.Pin = LD3_Pin | LD5_Pin | LD4_Pin;
	GPIO_InitStruct.Mode = GPIO_MODE_OUTPUT_PP;
	GPIO_InitStruct.Pull = GPIO_NOPULL;
	GPIO_InitStruct.Speed = GPIO_SPEED_FREQ_LOW;
	HAL_GPIO_Init(GPIOB, &GPIO_InitStruct);

	/*Configure GPIO pins : JOYSTICK_RIGHT_Pin JOYSTICK_UP_Pin */
	GPIO_InitStruct.Pin = JOYSTICK_RIGHT_Pin | JOYSTICK_UP_Pin;
	GPIO_InitStruct.Mode = GPIO_MODE_IT_RISING;
	GPIO_InitStruct.Pull = GPIO_PULLUP;
	HAL_GPIO_Init(GPIOB, &GPIO_InitStruct);

	/*Configure GPIO pin : LD2_Pin */
	GPIO_InitStruct.Pin = LD2_Pin;
	GPIO_InitStruct.Mode = GPIO_MODE_OUTPUT_PP;
	GPIO_InitStruct.Pull = GPIO_NOPULL;
	GPIO_InitStruct.Speed = GPIO_SPEED_FREQ_LOW;
	HAL_GPIO_Init(LD2_GPIO_Port, &GPIO_InitStruct);

	/*Configure GPIO pin : USBPD_550mA_PROTECT_Pin */
	GPIO_InitStruct.Pin = USBPD_550mA_PROTECT_Pin;
	GPIO_InitStruct.Mode = GPIO_MODE_OUTPUT_PP;
	GPIO_InitStruct.Pull = GPIO_NOPULL;
	GPIO_InitStruct.Speed = GPIO_SPEED_FREQ_LOW;
	HAL_GPIO_Init(USBPD_550mA_PROTECT_GPIO_Port, &GPIO_InitStruct);

	/* EXTI interrupt init*/
	HAL_NVIC_SetPriority(EXTI2_IRQn, 0, 0);
	HAL_NVIC_EnableIRQ(EXTI2_IRQn);

	HAL_NVIC_SetPriority(EXTI4_IRQn, 0, 0);
	HAL_NVIC_EnableIRQ(EXTI4_IRQn);

	HAL_NVIC_SetPriority(EXTI9_5_IRQn, 0, 0);
	HAL_NVIC_EnableIRQ(EXTI9_5_IRQn);

	HAL_NVIC_SetPriority(EXTI15_10_IRQn, 0, 0);
	HAL_NVIC_EnableIRQ(EXTI15_10_IRQn);

}

void Error_Handler(void) {
}

/************************ (C) COPYRIGHT STMicroelectronics *****END OF FILE****/
